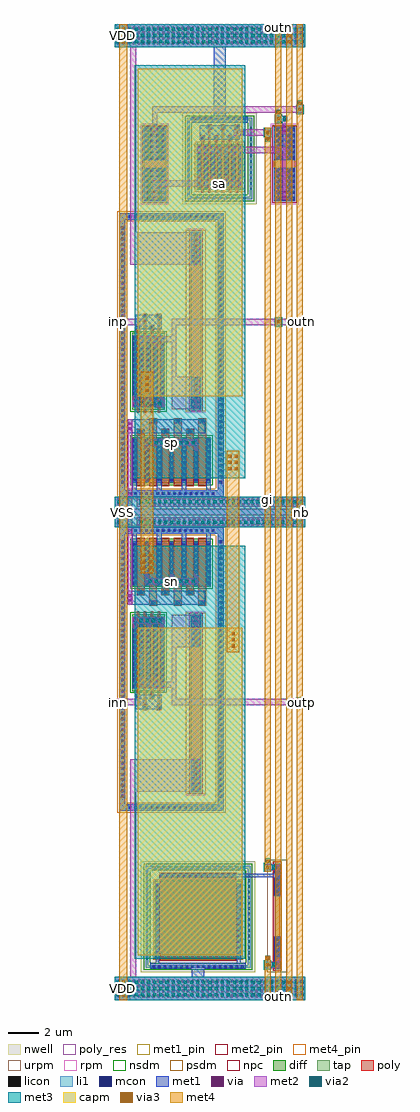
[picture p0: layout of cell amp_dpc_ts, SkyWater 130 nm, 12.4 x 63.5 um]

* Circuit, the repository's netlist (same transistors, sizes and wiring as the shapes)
* amp_dpc_ts: amp_dpc_t (layout/ref/amp_dpc_t.spice) + lna_shunt (a = outp, b = outn, g = lna_lo_n), the shunt as layout/gen/lna_chain.py writes it (amp_dpc_shunt_tall.py)
.subckt amp_dpc_ts inp inn nb outp outn VDD VSS lna_lo_n
*.PININFO VDD:B VSS:B nb:B inp:B inn:B outp:B outn:B
XRl_p outn VDD VSS sky130_fd_pr__res_high_po_0p69 L=7.37736 mult=1
XMp outn inp sp VSS sky130_fd_pr__nfet_01v8 L=0.15 W=20 nf=4
XMtail_p sp nb VSS VSS sky130_fd_pr__nfet_01v8 L=0.5 W=6 nf=2 m=3
XRl_n outp VDD VSS sky130_fd_pr__res_high_po_0p69 L=7.37736 mult=1
XMn outp inn sn VSS sky130_fd_pr__nfet_01v8 L=0.15 W=20 nf=4
XMtail_n sn nb VSS VSS sky130_fd_pr__nfet_01v8 L=0.5 W=6 nf=2 m=3
XCs_a sn sp sky130_fd_pr__cap_mim_m3_1 W=6.8 L=21.33
XCs_b sp sn sky130_fd_pr__cap_mim_m3_1 W=6.8 L=21.33
XRh_a sa outp VSS sky130_fd_pr__res_high_po_1p41 L=0.62 mult=1
XRh_b outn sb VSS sky130_fd_pr__res_high_po_1p41 L=0.62 mult=1
XMsw sb gi sa VDD sky130_fd_pr__pfet_01v8 L=0.15 W=18 nf=6
XRg lna_lo_n gi VSS sky130_fd_pr__res_xhigh_po_0p35 L=2.71039 mult=1
XMcap VDD gi VDD VDD sky130_fd_pr__pfet_01v8 L=5 W=5 nf=1
.ends

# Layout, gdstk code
import gdstk
lib = gdstk.Library(unit=1e-6, precision=1e-09)
def R(c, l, rs):  # rectangles x0, y0, x1, y1
    for r in rs: c.add(gdstk.rectangle(r[:2], r[2:], *l))
def A(c, l, x, y, w, h, nx, ny, dx, dy):  # array of equal rectangles
    R(c, l, [(x+i*dx, y+j*dy, x+i*dx+w, y+j*dy+h) for i in range(nx) for j in range(ny)])
def P(c, l, *ps):  # polygons
    for p in ps: c.add(gdstk.Polygon(p, *l))
nwell = (64, 20)
diff = (65, 20)
tap = (65, 44)
poly_res = (66, 13)
poly = (66, 20)
licon = (66, 44)
li1 = (67, 20)
mcon = (67, 44)
met1_pin = (68, 16)
met1 = (68, 20)
via = (68, 44)
met2_pin = (69, 16)
met2 = (69, 20)
via2 = (69, 44)
met3 = (70, 20)
via3 = (70, 44)
met4_pin = (71, 16)
met4 = (71, 20)
urpm = (79, 20)
rpm = (86, 20)
capm = (89, 44)
nsdm = (93, 44)
psdm = (94, 20)
npc = (95, 20)

amp_dpc_ts = lib.new_cell('amp_dpc_ts')
R(amp_dpc_ts, nwell, [(1.7,1.8,9.14,9.03), (4.41,51.78,9.25,57.71)])
R(amp_dpc_ts, diff, [(2.62,2.745,8.22,7.745), (1.15,20.1,3.25,25.1), (1.15,26.88,6.25,29.88), (1.15,33.62,6.25,36.62), (1.15,38.4,3.25,43.4), (5.33,52.725,8.33,55.725)])
P(amp_dpc_ts, tap, [(0.3,32.75),(0.3,50.78),(0.7,50.78),(0.7,33.15),(6.7,33.15),(6.7,50.78),(0.3,50.78),(0.3,51.18),(7.1,51.18),(7.1,32.75)],
  [(0.3,12.32),(0.3,30.35),(0.7,30.35),(0.7,12.72),(6.7,12.72),(6.7,30.35),(0.3,30.35),(0.3,30.75),(7.1,30.75),(7.1,12.32)],
  [(4.715,52.085),(4.715,57.235),(4.885,57.235),(4.885,52.255),(8.775,52.255),(8.775,57.235),(4.715,57.235),(4.715,57.405),(8.945,57.405),(8.945,52.085)],
  [(2.005,2.105),(2.005,8.555),(2.175,8.555),(2.175,2.275),(8.665,2.275),(8.665,8.555),(2.005,8.555),(2.005,8.725),(8.835,8.725),(8.835,2.105)])
R(amp_dpc_ts, poly_res, [(10.4,4.1,10.75,6.81), (4.94,15.62,5.63,23), (4.94,40.5,5.63,47.88), (1.9,54.08,3.31,54.7), (10.35,54.08,11.76,54.7)])
A(amp_dpc_ts, poly, 2.25, 25.65, 0.5, 0.33, 3, 2, 1.6, 11.87)
A(amp_dpc_ts, poly, 2.25, 25.98, 0.5, 4.1, 3, 2, 1.6, 7.44)
A(amp_dpc_ts, poly, 1.45, 26.35, 0.5, 0.33, 3, 2, 1.6, 10.47)
A(amp_dpc_ts, poly, 1.45, 26.68, 0.5, 3.4, 3, 2, 1.6, 6.74)
A(amp_dpc_ts, poly, 5.63, 52.525, 0.15, 3.4, 3, 1, 0.9, 0)
A(amp_dpc_ts, poly, 6.08, 52.525, 0.15, 4.1, 3, 1, 0.9, 0)
A(amp_dpc_ts, poly, 5.57, 55.925, 0.27, 0.33, 3, 1, 0.9, 0)
A(amp_dpc_ts, poly, 6.02, 56.625, 0.27, 0.33, 3, 1, 0.9, 0)
R(amp_dpc_ts, poly, [(10.4,2,10.75,8.91), (2.92,2.545,7.92,7.945), (2.92,7.945,7.92,8.275), (4.94,13.52,5.63,25.1), (1.84,18.87,2.11,19.2), (2.74,18.87,3.01,19.2), (1.9,19.2,2.05,25.3), (2.8,19.2,2.95,25.3), (1.39,19.57,1.66,19.9), (2.29,19.57,2.56,19.9), (1.45,19.9,1.6,25.3), (2.35,19.9,2.5,25.3), (1.45,38.2,1.6,43.6), (1.9,38.2,2.05,44.3), (2.35,38.2,2.5,43.6), (2.8,38.2,2.95,44.3), (4.94,38.4,5.63,49.98), (1.39,43.6,1.66,43.93), (2.29,43.6,2.56,43.93), (1.84,44.3,2.11,44.63), (2.74,44.3,3.01,44.63), (1.9,51.98,3.31,56.8), (10.35,51.98,11.76,56.8)])
A(amp_dpc_ts, licon, 2.455, 2.105, 0.17, 0.17, 17, 2, 0.36, 6.45)
A(amp_dpc_ts, licon, 2.005, 2.63, 0.17, 0.17, 1, 16, 0, 0.36)
A(amp_dpc_ts, licon, 8.665, 2.63, 0.17, 0.17, 1, 16, 0, 0.36)
A(amp_dpc_ts, licon, 2.685, 3, 0.17, 0.17, 1, 13, 0, 0.36)
A(amp_dpc_ts, licon, 7.985, 3, 0.17, 0.17, 1, 13, 0, 0.36)
A(amp_dpc_ts, licon, 2.995, 8.025, 0.17, 0.17, 14, 1, 0.36, 0)
A(amp_dpc_ts, licon, 0.915, 12.435, 0.17, 0.17, 16, 2, 0.36, 18.03)
A(amp_dpc_ts, licon, 0.415, 13.17, 0.17, 0.17, 1, 47, 0, 0.36)
A(amp_dpc_ts, licon, 6.815, 13.17, 0.17, 0.17, 1, 47, 0, 0.36)
A(amp_dpc_ts, licon, 1.215, 20.355, 0.17, 0.17, 5, 13, 0.45, 0.36)
A(amp_dpc_ts, licon, 2.415, 25.73, 0.17, 0.17, 3, 2, 1.6, 11.87)
A(amp_dpc_ts, licon, 1.615, 26.43, 0.17, 0.17, 3, 2, 1.6, 10.47)
A(amp_dpc_ts, licon, 1.215, 27.035, 0.17, 0.17, 7, 8, 0.8, 0.36)
A(amp_dpc_ts, licon, 0.915, 32.865, 0.17, 0.17, 16, 2, 0.36, 18.03)
A(amp_dpc_ts, licon, 0.415, 33.6, 0.17, 0.17, 1, 47, 0, 0.36)
A(amp_dpc_ts, licon, 6.815, 33.6, 0.17, 0.17, 1, 47, 0, 0.36)
A(amp_dpc_ts, licon, 1.215, 33.775, 0.17, 0.17, 7, 8, 0.8, 0.36)
A(amp_dpc_ts, licon, 1.215, 38.655, 0.17, 0.17, 5, 13, 0.45, 0.36)
A(amp_dpc_ts, licon, 5.125, 52.085, 0.17, 0.17, 10, 2, 0.36, 5.15)
A(amp_dpc_ts, licon, 4.715, 52.68, 0.17, 0.17, 1, 12, 0, 0.36)
A(amp_dpc_ts, licon, 8.775, 52.68, 0.17, 0.17, 1, 12, 0, 0.36)
A(amp_dpc_ts, licon, 5.395, 52.88, 0.17, 0.17, 4, 8, 0.45, 0.36)
A(amp_dpc_ts, licon, 7.19, 52.88, 0.17, 0.17, 1, 8, 0, 0.36)
A(amp_dpc_ts, licon, 7.64, 52.88, 0.17, 0.17, 1, 8, 0, 0.36)
A(amp_dpc_ts, licon, 8.095, 52.88, 0.17, 0.17, 1, 8, 0, 0.36)
A(amp_dpc_ts, licon, 5.62, 56.005, 0.17, 0.17, 3, 1, 0.9, 0)
A(amp_dpc_ts, licon, 6.07, 56.705, 0.17, 0.17, 3, 1, 0.9, 0)
R(amp_dpc_ts, licon, [(10.48,2.08,10.67,4.08), (10.48,6.83,10.67,8.83), (5.19,13.6,5.38,15.6), (1.89,18.95,2.06,19.12), (2.79,18.95,2.96,19.12), (1.44,19.65,1.61,19.82), (2.34,19.65,2.51,19.82), (5.19,23.02,5.38,25.02), (5.19,38.48,5.38,40.48), (1.44,43.68,1.61,43.85), (2.34,43.68,2.51,43.85), (1.89,44.38,2.06,44.55), (2.79,44.38,2.96,44.55), (5.19,47.9,5.38,49.9), (2.155,52.06,2.345,54.06), (2.865,52.06,3.055,54.06), (10.605,52.06,10.795,54.06), (11.315,52.06,11.505,54.06), (2.155,54.72,2.345,56.72), (2.865,54.72,3.055,56.72), (10.605,54.72,10.795,56.72), (11.315,54.72,11.505,56.72)])
A(amp_dpc_ts, li1, 1.215, 20.275, 0.17, 4.65, 5, 2, 0.45, 18.3)
A(amp_dpc_ts, li1, 2.335, 25.73, 0.33, 0.17, 3, 2, 1.6, 11.87)
A(amp_dpc_ts, li1, 1.535, 26.43, 0.33, 0.17, 3, 2, 1.6, 10.47)
A(amp_dpc_ts, li1, 1.215, 26.955, 0.17, 2.85, 7, 2, 0.8, 6.74)
A(amp_dpc_ts, li1, 5.395, 52.8, 0.17, 2.85, 4, 1, 0.45, 0)
A(amp_dpc_ts, li1, 5.54, 56.005, 0.33, 0.17, 3, 1, 0.9, 0)
A(amp_dpc_ts, li1, 5.99, 56.705, 0.33, 0.17, 3, 1, 0.9, 0)
R(amp_dpc_ts, li1, [(10.4,2,10.75,4.16), (2.685,2.92,2.855,7.57), (7.985,2.92,8.155,7.57), (10.4,6.75,10.75,8.91), (2.915,8.025,7.925,8.195), (4.94,13.52,5.63,15.68), (1.81,18.95,2.14,19.12), (2.71,18.95,3.04,19.12), (1.36,19.65,1.69,19.82), (2.26,19.65,2.59,19.82), (4.94,22.94,5.63,25.1), (4.94,38.4,5.63,40.56), (1.36,43.68,1.69,43.85), (2.26,43.68,2.59,43.85), (1.81,44.38,2.14,44.55), (2.71,44.38,3.04,44.55), (4.94,47.82,5.63,49.98), (1.9,51.98,3.31,54.14), (10.35,51.98,11.76,54.14), (7.19,52.8,7.36,55.65), (7.64,52.8,7.81,55.65), (8.095,52.8,8.265,55.65), (1.9,54.64,3.31,56.8), (10.35,54.64,11.76,56.8)])
P(amp_dpc_ts, li1, [(0.3,32.75),(0.3,50.78),(0.7,50.78),(0.7,33.15),(6.7,33.15),(6.7,50.78),(0.3,50.78),(0.3,51.18),(7.1,51.18),(7.1,32.75)],
  [(0.3,12.32),(0.3,30.35),(0.7,30.35),(0.7,12.72),(6.7,12.72),(6.7,30.35),(0.3,30.35),(0.3,30.75),(7.1,30.75),(7.1,12.32)],
  [(4.715,52.085),(4.715,57.235),(4.885,57.235),(4.885,52.255),(8.775,52.255),(8.775,57.235),(4.715,57.235),(4.715,57.405),(8.945,57.405),(8.945,52.085)],
  [(2.005,2.105),(2.005,8.555),(2.175,8.555),(2.175,2.275),(8.665,2.275),(8.665,8.555),(2.005,8.555),(2.005,8.725),(8.835,8.725),(8.835,2.105)])
A(amp_dpc_ts, mcon, 10.49, 2.1, 0.17, 0.17, 1, 6, 0, 0.36)
A(amp_dpc_ts, mcon, 2.455, 2.105, 0.17, 0.17, 17, 1, 0.36, 0)
A(amp_dpc_ts, mcon, 2.685, 3, 0.17, 0.17, 1, 13, 0, 0.36)
A(amp_dpc_ts, mcon, 7.985, 3, 0.17, 0.17, 1, 13, 0, 0.36)
A(amp_dpc_ts, mcon, 10.49, 6.845, 0.17, 0.17, 1, 6, 0, 0.36)
A(amp_dpc_ts, mcon, 2.995, 8.025, 0.17, 0.17, 14, 1, 0.36, 0)
A(amp_dpc_ts, mcon, 0.915, 12.435, 0.17, 0.17, 16, 2, 0.36, 18.03)
A(amp_dpc_ts, mcon, 0.415, 13.17, 0.17, 0.17, 1, 47, 0, 0.36)
A(amp_dpc_ts, mcon, 6.815, 13.17, 0.17, 0.17, 1, 47, 0, 0.36)
A(amp_dpc_ts, mcon, 5.02, 13.615, 0.17, 0.17, 1, 6, 0, 0.36)
A(amp_dpc_ts, mcon, 5.38, 13.615, 0.17, 0.17, 1, 6, 0, 0.36)
A(amp_dpc_ts, mcon, 1.215, 20.355, 0.17, 0.17, 5, 13, 0.45, 0.36)
A(amp_dpc_ts, mcon, 5.02, 23.03, 0.17, 0.17, 1, 6, 0, 0.36)
A(amp_dpc_ts, mcon, 5.38, 23.03, 0.17, 0.17, 1, 6, 0, 0.36)
A(amp_dpc_ts, mcon, 2.415, 25.73, 0.17, 0.17, 3, 2, 1.6, 11.87)
A(amp_dpc_ts, mcon, 1.615, 26.43, 0.17, 0.17, 3, 2, 1.6, 10.47)
A(amp_dpc_ts, mcon, 1.215, 27.035, 0.17, 0.17, 7, 8, 0.8, 0.36)
A(amp_dpc_ts, mcon, 0.915, 32.865, 0.17, 0.17, 16, 2, 0.36, 18.03)
A(amp_dpc_ts, mcon, 0.415, 33.6, 0.17, 0.17, 1, 47, 0, 0.36)
A(amp_dpc_ts, mcon, 6.815, 33.6, 0.17, 0.17, 1, 47, 0, 0.36)
A(amp_dpc_ts, mcon, 1.215, 33.775, 0.17, 0.17, 7, 8, 0.8, 0.36)
A(amp_dpc_ts, mcon, 5.02, 38.5, 0.17, 0.17, 1, 6, 0, 0.36)
A(amp_dpc_ts, mcon, 5.38, 38.5, 0.17, 0.17, 1, 6, 0, 0.36)
A(amp_dpc_ts, mcon, 1.215, 38.655, 0.17, 0.17, 5, 13, 0.45, 0.36)
A(amp_dpc_ts, mcon, 5.02, 47.915, 0.17, 0.17, 1, 6, 0, 0.36)
A(amp_dpc_ts, mcon, 5.38, 47.915, 0.17, 0.17, 1, 6, 0, 0.36)
A(amp_dpc_ts, mcon, 1.98, 52.08, 0.17, 0.17, 4, 6, 0.36, 0.36)
A(amp_dpc_ts, mcon, 10.43, 52.08, 0.17, 0.17, 4, 6, 0.36, 0.36)
A(amp_dpc_ts, mcon, 5.395, 52.88, 0.17, 0.17, 4, 8, 0.45, 0.36)
A(amp_dpc_ts, mcon, 7.19, 52.88, 0.17, 0.17, 1, 8, 0, 0.36)
A(amp_dpc_ts, mcon, 7.64, 52.88, 0.17, 0.17, 1, 8, 0, 0.36)
A(amp_dpc_ts, mcon, 8.095, 52.88, 0.17, 0.17, 1, 8, 0, 0.36)
A(amp_dpc_ts, mcon, 1.98, 54.735, 0.17, 0.17, 4, 6, 0.36, 0.36)
A(amp_dpc_ts, mcon, 10.43, 54.735, 0.17, 0.17, 4, 6, 0.36, 0.36)
A(amp_dpc_ts, mcon, 5.62, 56.005, 0.17, 0.17, 3, 1, 0.9, 0)
A(amp_dpc_ts, mcon, 6.07, 56.705, 0.17, 0.17, 3, 1, 0.9, 0)
A(amp_dpc_ts, mcon, 5.125, 57.235, 0.17, 0.17, 10, 1, 0.36, 0)
R(amp_dpc_ts, mcon, [(1.89,18.95,2.06,19.12), (2.79,18.95,2.96,19.12), (1.44,19.65,1.61,19.82), (2.34,19.65,2.51,19.82), (1.44,43.68,1.61,43.85), (2.34,43.68,2.51,43.85), (1.89,44.38,2.06,44.55), (2.79,44.38,2.96,44.55)])
R(amp_dpc_ts, met1_pin, [(0,0,1,1.5), (0,30.75,1,32.75), (0,62,1,63.5)])
A(amp_dpc_ts, met1, 1.185, 20.295, 0.23, 4.61, 5, 2, 0.45, 18.3)
A(amp_dpc_ts, met1, 1.17, 24.21, 0.26, 0.64, 3, 2, 0.9, 14.44)
A(amp_dpc_ts, met1, 1.15, 24.48, 0.3, 0.42, 3, 2, 0.9, 14.12)
A(amp_dpc_ts, met1, 2.315, 25.7, 0.37, 0.23, 3, 2, 1.6, 11.87)
A(amp_dpc_ts, met1, 1.515, 26.4, 0.37, 0.23, 3, 2, 1.6, 10.47)
A(amp_dpc_ts, met1, 1.15, 26.975, 0.3, 3.385, 4, 2, 1.6, 6.165)
A(amp_dpc_ts, met1, 1.185, 26.975, 0.23, 2.81, 7, 2, 0.8, 6.74)
A(amp_dpc_ts, met1, 1.95, 27.03, 0.3, 0.42, 3, 2, 1.6, 9.02)
A(amp_dpc_ts, met1, 1.97, 27.08, 0.26, 0.64, 3, 2, 1.6, 8.7)
A(amp_dpc_ts, met1, 5.365, 52.82, 0.23, 2.81, 4, 1, 0.45, 0)
R(amp_dpc_ts, met1, [(0,0,12.4,1.5), (5.02,1.49,5.82,2.435), (10.375,2.03,10.775,4.135), (10.45,2.03,10.7,4.135), (2.305,2.045,8.535,2.435), (2.655,2.045,2.885,3.04), (7.955,2.045,8.185,3.04), (10.445,2.12,10.705,2.76), (2.655,2.94,2.885,7.55), (7.955,2.94,8.185,7.55), (10.375,6.775,10.775,8.88), (10.425,6.775,10.725,8.88), (10.45,6.775,10.7,8.88), (2.935,7.995,7.905,8.225), (2.935,7.995,10.725,8.225), (10.445,8.15,10.705,8.79), (4.99,13.555,5.58,15.655), (5.035,13.555,5.535,15.655), (1.34,18.92,3.055,19.85), (1.79,18.92,2.16,19.15), (2.69,18.92,3.055,19.15), (1.43,19.255,2.07,19.515), (1.34,19.62,1.71,19.85), (2.24,19.62,2.605,19.85), (1.6,20.3,1.9,20.72), (2.5,20.3,2.8,20.72), (1.62,20.35,1.88,20.99), (2.52,20.35,2.78,20.99), (4.99,22.965,5.58,25.065), (5.035,22.965,5.535,25.065), (0.85,25.7,5.885,26.63), (0,30.75,12.4,32.75), (0.85,36.87,5.885,37.8), (4.99,38.435,5.58,40.535), (5.035,38.435,5.535,40.535), (1.62,42.51,1.88,43.15), (2.52,42.51,2.78,43.15), (1.6,42.78,1.9,43.2), (2.5,42.78,2.8,43.2), (1.34,43.65,1.71,43.88), (1.34,43.65,3.055,44.58), (2.24,43.65,2.605,43.88), (1.43,43.985,2.07,44.245), (1.79,44.35,2.16,44.58), (2.69,44.35,3.055,44.58), (4.99,47.845,5.58,49.945), (5.035,47.845,5.535,49.945), (1.9,52.01,3.31,54.115), (1.95,52.01,3.26,54.115), (10.35,52.01,11.76,54.115), (10.4,52.01,11.71,54.115), (2.475,52.1,2.735,52.74), (10.925,52.1,11.185,52.74), (7.16,52.82,7.39,55.63), (7.61,52.82,7.84,55.63), (8.065,52.82,8.295,55.63), (5.33,52.925,5.63,53.345), (6.23,52.925,6.53,53.345), (7.125,52.925,7.425,53.345), (8.03,52.925,8.33,53.345), (5.35,52.975,5.61,53.615), (6.25,52.975,6.51,53.615), (7.145,52.975,7.405,53.615), (8.05,52.975,8.31,53.615), (1.9,54.665,3.31,56.77), (1.95,54.665,3.26,56.77), (10.35,54.665,11.76,56.77), (10.4,54.665,11.71,56.77), (5.8,54.835,6.06,55.475), (6.7,54.835,6.96,55.475), (7.595,54.835,7.855,55.475), (5.78,55.105,6.08,55.525), (6.68,55.105,6.98,55.525), (7.575,55.105,7.875,55.525), (5.52,55.975,5.89,56.205), (5.52,55.975,8.135,56.905), (6.42,55.975,6.785,56.205), (7.32,55.975,7.685,56.205), (7.775,56.31,8.415,56.57), (2.475,56.36,2.735,57), (10.925,56.36,11.185,57), (5.97,56.675,6.34,56.905), (6.87,56.675,7.235,56.905), (7.77,56.675,8.135,56.905), (5.015,57.075,8.645,57.465), (6.43,57.075,7.23,62.01), (0,62,12.4,63.5)])
P(amp_dpc_ts, met1, [(0.3,12.32),(0.3,30.35),(0.7,30.35),(0.7,12.72),(6.7,12.72),(6.7,30.35),(0.3,30.35),(0.3,30.75),(7.1,30.75),(7.1,12.32)],
  [(0.3,32.75),(0.3,50.78),(0.7,50.78),(0.7,33.15),(6.7,33.15),(6.7,50.78),(0.3,50.78),(0.3,51.18),(7.1,51.18),(7.1,32.75)])
A(amp_dpc_ts, via, 0.205, 0.195, 0.15, 0.15, 38, 4, 0.32, 0.32)
A(amp_dpc_ts, via, 5.21, 13.73, 0.15, 0.15, 1, 6, 0, 0.32)
A(amp_dpc_ts, via, 5.21, 23.14, 0.15, 0.15, 1, 6, 0, 0.32)
A(amp_dpc_ts, via, 1.225, 24.295, 0.15, 0.15, 3, 2, 0.9, 0.32)
A(amp_dpc_ts, via, 2.025, 27.165, 0.15, 0.15, 3, 2, 1.6, 0.32)
A(amp_dpc_ts, via, 1.57, 30.845, 0.15, 0.15, 34, 2, 0.32, 0.32)
A(amp_dpc_ts, via, 1.57, 32.185, 0.15, 0.15, 34, 2, 0.32, 0.32)
A(amp_dpc_ts, via, 2.025, 35.865, 0.15, 0.15, 3, 2, 1.6, 0.32)
A(amp_dpc_ts, via, 5.21, 38.61, 0.15, 0.15, 1, 6, 0, 0.32)
A(amp_dpc_ts, via, 1.225, 38.735, 0.15, 0.15, 3, 2, 0.9, 0.32)
A(amp_dpc_ts, via, 5.21, 48.02, 0.15, 0.15, 1, 6, 0, 0.32)
A(amp_dpc_ts, via, 0.205, 62.195, 0.15, 0.15, 38, 4, 0.32, 0.32)
R(amp_dpc_ts, via, [(10.5,2.205,10.65,2.355), (10.5,2.525,10.65,2.675), (10.5,8.235,10.65,8.385), (10.5,8.555,10.65,8.705), (1.515,19.31,1.665,19.46), (1.835,19.31,1.985,19.46), (1.675,20.435,1.825,20.585), (2.575,20.435,2.725,20.585), (1.675,20.755,1.825,20.905), (2.575,20.755,2.725,20.905), (0.925,25.93,1.075,26.08), (0.925,26.25,1.075,26.4), (0.2,30.845,0.35,30.995), (0.2,31.165,0.35,31.315), (0.2,32.185,0.35,32.335), (0.2,32.505,0.35,32.655), (0.925,37.1,1.075,37.25), (0.925,37.42,1.075,37.57), (1.675,42.595,1.825,42.745), (2.575,42.595,2.725,42.745), (1.675,42.915,1.825,43.065), (2.575,42.915,2.725,43.065), (1.515,44.04,1.665,44.19), (1.835,44.04,1.985,44.19), (2.53,52.185,2.68,52.335), (10.98,52.185,11.13,52.335), (2.53,52.505,2.68,52.655), (10.98,52.505,11.13,52.655), (5.405,53.06,5.555,53.21), (6.305,53.06,6.455,53.21), (7.2,53.06,7.35,53.21), (8.105,53.06,8.255,53.21), (5.405,53.38,5.555,53.53), (6.305,53.38,6.455,53.53), (7.2,53.38,7.35,53.53), (8.105,53.38,8.255,53.53), (5.855,54.92,6.005,55.07), (6.755,54.92,6.905,55.07), (7.65,54.92,7.8,55.07), (5.855,55.24,6.005,55.39), (6.755,55.24,6.905,55.39), (7.65,55.24,7.8,55.39), (7.86,56.365,8.01,56.515), (8.18,56.365,8.33,56.515), (2.53,56.445,2.68,56.595), (10.98,56.445,11.13,56.595), (2.53,56.765,2.68,56.915), (10.98,56.765,11.13,56.915)])
A(amp_dpc_ts, met2_pin, 0, 19.185, 0.5, 0.4, 1, 3, 0, 12.365)
A(amp_dpc_ts, met2_pin, 11.9, 19.185, 0.5, 0.4, 1, 3, 0, 12.365)
A(amp_dpc_ts, met2, 1.17, 24.21, 0.26, 0.64, 3, 2, 0.9, 14.44)
A(amp_dpc_ts, met2, 1.97, 27.08, 0.26, 0.64, 3, 2, 1.6, 8.7)
R(amp_dpc_ts, met2, [(0,0,12.4,1.5), (1,1.49,1.4,15.655), (9.7,2.08,10.725,2.48), (10.425,2.08,10.725,2.48), (9.81,2.095,10.49,2.465), (10.445,2.12,10.705,2.76), (10.445,8.15,10.705,8.79), (9.7,8.43,10.725,8.83), (9.81,8.445,10.49,8.815), (1,13.555,5.535,15.655), (0,19.185,1.84,19.585), (3.7,19.185,12.4,19.585), (3.7,19.185,4,25.065), (1.43,19.255,2.07,19.515), (1.6,20.3,4,20.72), (1.62,20.35,1.88,20.99), (2.52,20.35,2.78,20.99), (3.7,22.965,5.535,25.065), (1.15,24.48,3.25,24.9), (0.85,25.7,1.15,31.75), (1.95,27.03,5.45,27.45), (0,30.75,0.55,31.41), (1.45,30.75,12.4,31.41), (0,31.55,12.4,31.95), (0.85,31.75,1.15,37.8), (0,32.09,0.55,32.75), (1.45,32.09,12.4,32.75), (1.95,36.05,5.45,36.47), (3.7,38.435,5.535,40.535), (3.7,38.435,4,44.315), (1.15,38.6,3.25,39.02), (1.62,42.51,1.88,43.15), (2.52,42.51,2.78,43.15), (1.6,42.78,4,43.2), (0,43.915,1.84,44.315), (3.7,43.915,12.4,44.315), (1.43,43.985,2.07,44.245), (1,47.845,5.535,49.945), (1,47.845,1.4,62.01), (2.455,52.06,2.755,53.345), (10.905,52.06,11.205,55.525), (2.475,52.1,2.735,52.74), (10.925,52.1,11.185,52.74), (2.455,52.925,8.33,53.345), (5.35,52.975,5.61,53.615), (6.25,52.975,6.51,53.615), (7.145,52.975,7.405,53.615), (8.05,52.975,8.31,53.615), (5.8,54.835,6.06,55.475), (6.7,54.835,6.96,55.475), (7.595,54.835,7.855,55.475), (5.33,55.105,11.205,55.525), (9.81,55.855,10.09,56.625), (7.735,56.24,10.2,56.64), (7.775,56.31,8.415,56.57), (2.455,56.32,2.755,58.14), (10.905,56.32,11.205,57.54), (2.475,56.36,2.735,57), (10.925,56.36,11.185,57), (10.4,57.14,11.205,57.54), (10.51,57.155,11.19,57.525), (2.455,57.74,12.3,58.14), (11.91,57.755,12.19,58.525), (0,62,12.4,63.5)])
A(amp_dpc_ts, via2, 0.1, 0.25, 0.2, 0.2, 31, 3, 0.4, 0.4)
A(amp_dpc_ts, via2, 1.625, 24.59, 0.2, 0.2, 4, 2, 0.4, 14.12)
A(amp_dpc_ts, via2, 2.2, 27.14, 0.2, 0.2, 8, 2, 0.4, 9.02)
A(amp_dpc_ts, via2, 1.625, 30.98, 0.2, 0.2, 27, 2, 0.4, 1.34)
A(amp_dpc_ts, via2, 0.1, 62.25, 0.2, 0.2, 31, 3, 0.4, 0.4)
R(amp_dpc_ts, via2, [(9.85,2.18,10.05,2.38), (10.25,2.18,10.45,2.38), (9.85,8.53,10.05,8.73), (10.25,8.53,10.45,8.73), (11.95,19.285,12.15,19.485), (0.175,30.98,0.375,31.18), (0.175,32.32,0.375,32.52), (10.55,44.015,10.75,44.215), (9.85,55.94,10.05,56.14), (9.85,56.34,10.05,56.54), (10.55,57.24,10.75,57.44), (10.95,57.24,11.15,57.44), (11.95,57.84,12.15,58.04), (11.95,58.24,12.15,58.44)])
R(amp_dpc_ts, met3, [(0,0,12.4,1.5), (9.7,1.98,10.2,2.58), (9.79,2.09,10.11,2.87), (9.785,2.115,10.515,2.445), (1.3,2.7,8.5,29.55), (9.7,8.33,10.2,8.93), (9.79,8.44,10.11,9.22), (9.785,8.465,10.515,8.795), (11.8,19.085,12.3,19.685), (0,30.75,12.4,32.75), (1.3,33.95,8.5,60.8), (10.4,43.815,10.9,44.415), (9.79,55.85,10.11,56.63), (9.785,55.875,10.115,56.605), (9.7,56.14,10.2,56.74), (10.4,57.04,10.9,57.64), (10.49,57.15,10.81,57.93), (10.485,57.175,11.215,57.505), (11.8,57.64,12.3,58.24), (11.89,57.75,12.21,58.53), (11.885,57.775,12.215,58.505), (0,62,12.4,63.5)])
A(amp_dpc_ts, via3, 0.45, 0.25, 0.2, 0.2, 1, 3, 0, 0.4)
A(amp_dpc_ts, via3, 11.25, 0.25, 0.2, 0.2, 1, 3, 0, 0.4)
A(amp_dpc_ts, via3, 7.6, 22.93, 0.2, 0.2, 1, 3, 0, 0.4)
A(amp_dpc_ts, via3, 1.8, 28.025, 0.2, 0.2, 1, 3, 0, 0.4)
A(amp_dpc_ts, via3, 2.2, 28.025, 0.2, 0.2, 1, 3, 0, 0.4)
A(amp_dpc_ts, via3, 7.4, 34.475, 0.2, 0.2, 1, 3, 0, 0.4)
A(amp_dpc_ts, via3, 7.8, 34.475, 0.2, 0.2, 1, 3, 0, 0.4)
A(amp_dpc_ts, via3, 2, 39.57, 0.2, 0.2, 1, 3, 0, 0.4)
A(amp_dpc_ts, via3, 0.45, 62.25, 0.2, 0.2, 1, 3, 0, 0.4)
A(amp_dpc_ts, via3, 11.25, 62.25, 0.2, 0.2, 1, 3, 0, 0.4)
R(amp_dpc_ts, via3, [(9.85,2.18,10.05,2.38), (9.85,2.58,10.05,2.78), (9.85,8.53,10.05,8.73), (9.85,8.93,10.05,9.13), (11.95,19.285,12.15,19.485), (10.55,44.015,10.75,44.215), (9.85,55.94,10.05,56.14), (9.85,56.34,10.05,56.54), (10.55,57.24,10.75,57.44), (10.55,57.64,10.75,57.84), (11.95,57.84,12.15,58.04), (11.95,58.24,12.15,58.44)])
R(amp_dpc_ts, met4_pin, [(9.75,0,10.15,0.5), (10.45,0,10.85,0.5), (11.85,0,12.25,0.5), (10.45,63,10.85,63.5), (11.85,63,12.25,63.5)])
A(amp_dpc_ts, met4, 10.45, 0, 0.4, 63.5, 3, 1, 0.7, 0)
R(amp_dpc_ts, met4, [(0.3,0,0.8,63.5), (9.75,0,10.15,2.58), (9.785,2.115,10.115,2.845), (9.75,8.33,10.15,56.74), (9.785,8.465,10.115,9.195), (7.3,22.63,8.1,35.75), (1.7,27.75,2.5,40.87), (9.785,55.875,10.115,56.605), (10.485,57.175,10.815,57.905), (11.885,57.775,12.215,58.505)])
R(amp_dpc_ts, urpm, [(9.94,1.8,11.21,9.11)])
R(amp_dpc_ts, rpm, [(4.635,13.32,5.935,25.3), (4.65,13.32,5.92,25.3), (4.635,38.2,5.935,50.18), (4.65,38.2,5.92,50.18), (1.7,51.78,3.51,57), (10.15,51.78,11.96,57)])
R(amp_dpc_ts, capm, [(1.5,2.9,8.3,24.23), (1.5,39.27,8.3,60.6)])
R(amp_dpc_ts, nsdm, [(1.025,19.975,3.375,25.225), (1.025,26.755,6.375,30.005), (1.025,33.495,6.375,36.745), (1.025,38.275,3.375,43.525)])
P(amp_dpc_ts, nsdm, [(4.59,51.96),(4.59,57.11),(5.01,57.11),(5.01,52.38),(8.65,52.38),(8.65,57.11),(4.59,57.11),(4.59,57.53),(9.07,57.53),(9.07,51.96)],
  [(1.88,1.98),(1.88,8.43),(2.3,8.43),(2.3,2.4),(8.54,2.4),(8.54,8.43),(1.88,8.43),(1.88,8.85),(8.96,8.85),(8.96,1.98)])
R(amp_dpc_ts, psdm, [(10.29,1.89,10.86,9.02), (2.495,2.62,8.345,7.87), (4.635,13.41,5.935,25.21), (4.83,13.41,5.74,25.21), (4.635,38.29,5.935,50.09), (4.83,38.29,5.74,50.09), (1.79,51.87,3.42,56.91), (10.24,51.87,11.87,56.91), (5.205,52.6,8.455,55.85)])
P(amp_dpc_ts, psdm, [(0.175,32.625),(0.175,50.655),(0.825,50.655),(0.825,33.275),(6.575,33.275),(6.575,50.655),(0.175,50.655),(0.175,51.305),(7.225,51.305),(7.225,32.625)],
  [(0.175,12.195),(0.175,30.225),(0.825,30.225),(0.825,12.845),(6.575,12.845),(6.575,30.225),(0.175,30.225),(0.175,30.875),(7.225,30.875),(7.225,12.195)])
A(amp_dpc_ts, npc, 2.24, 25.64, 0.52, 0.35, 3, 2, 1.6, 11.87)
A(amp_dpc_ts, npc, 1.44, 26.34, 0.52, 0.35, 3, 2, 1.6, 10.47)
A(amp_dpc_ts, npc, 5.56, 55.915, 0.29, 0.35, 3, 1, 0.9, 0)
A(amp_dpc_ts, npc, 6.01, 56.615, 0.29, 0.35, 3, 1, 0.9, 0)
R(amp_dpc_ts, npc, [(10.305,1.905,10.845,9.005), (2.91,7.935,7.93,8.285), (4.845,13.43,5.725,25.19), (1.83,18.86,2.12,19.21), (2.73,18.86,3.02,19.21), (1.38,19.56,1.67,19.91), (2.28,19.56,2.57,19.91), (4.845,38.31,5.725,50.07), (1.38,43.59,1.67,43.94), (2.28,43.59,2.57,43.94), (1.83,44.29,2.12,44.64), (2.73,44.29,3.02,44.64), (1.805,51.885,3.405,56.895), (10.255,51.885,11.855,56.895)])
amp_dpc_ts.add(gdstk.Label('VSS', (0.5,31.75), layer=68, texttype=5))
amp_dpc_ts.add(gdstk.Label('VDD', (0.5,62.75), layer=68, texttype=5))
amp_dpc_ts.add(gdstk.Label('VDD', (0.5,0.75), layer=68, texttype=5))
amp_dpc_ts.add(gdstk.Label('nb', (0.25,31.75), layer=69, texttype=5))
amp_dpc_ts.add(gdstk.Label('nb', (12.15,31.75), layer=69, texttype=5))
amp_dpc_ts.add(gdstk.Label('inp', (0.25,44.115), layer=69, texttype=5))
amp_dpc_ts.add(gdstk.Label('outn', (12.15,44.115), layer=69, texttype=5))
amp_dpc_ts.add(gdstk.Label('sp', (3.7,36.26), layer=69, texttype=5))
amp_dpc_ts.add(gdstk.Label('inn', (0.25,19.385), layer=69, texttype=5))
amp_dpc_ts.add(gdstk.Label('outp', (12.15,19.385), layer=69, texttype=5))
amp_dpc_ts.add(gdstk.Label('sn', (3.7,27.24), layer=69, texttype=5))
amp_dpc_ts.add(gdstk.Label('sa', (6.83,53.135), layer=69, texttype=5))
amp_dpc_ts.add(gdstk.Label('outn', (10.65,63.25), layer=71, texttype=5))
amp_dpc_ts.add(gdstk.Label('outn', (10.65,0.25), layer=71, texttype=5))
amp_dpc_ts.add(gdstk.Label('outp', (12.05,63.25), layer=71, texttype=5))
amp_dpc_ts.add(gdstk.Label('outp', (12.05,0.25), layer=71, texttype=5))
amp_dpc_ts.add(gdstk.Label('gi', (9.95,32.535), layer=71, texttype=5))
amp_dpc_ts.add(gdstk.Label('lna_lo_n', (9.95,0.25), layer=71, texttype=5))

lib.write_gds('amp_dpc_ts.gds')
